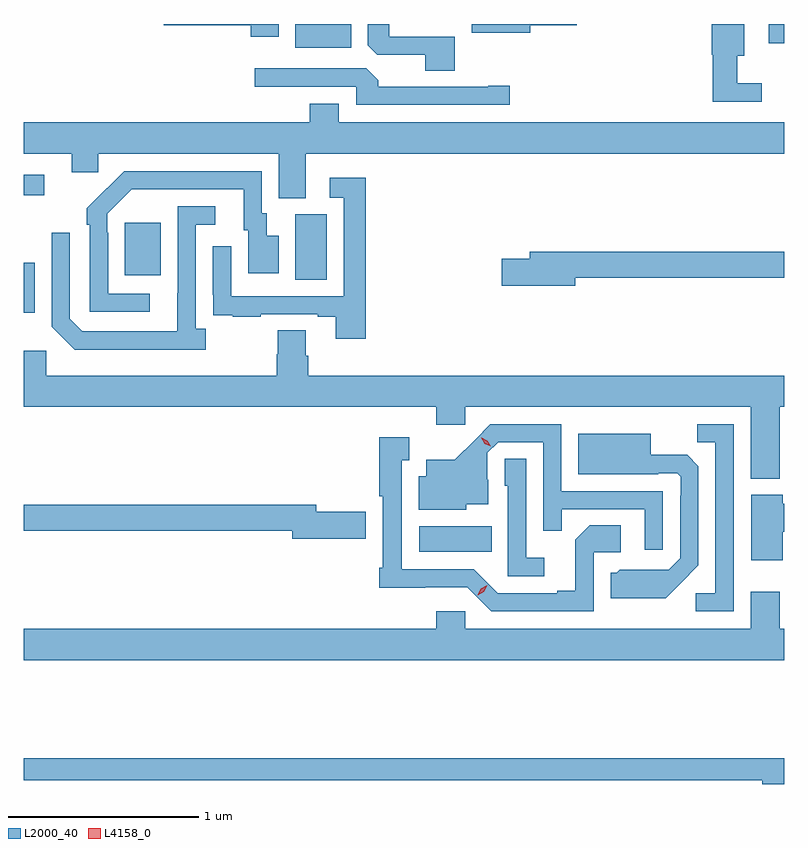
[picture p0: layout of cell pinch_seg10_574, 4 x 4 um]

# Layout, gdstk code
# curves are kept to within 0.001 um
import gdstk
lib = gdstk.Library(unit=1e-6, precision=1e-09)
def R(c, l, rs):  # rectangles x0, y0, x1, y1
    for r in rs: c.add(gdstk.rectangle(r[:2], r[2:], *l))
def P(c, l, *ps):  # polygons
    for p in ps: c.add(gdstk.Polygon(p, *l))
L2000_40 = (2000, 40)
L4158_0 = (4158, 0)

pinch_seg10_574 = lib.new_cell('pinch_seg10_574')
R(pinch_seg10_574, L2000_40, [(374.028,1251.602,374.408,1251.736), (371.947,1252.858,372.004,1253.122), (373.376,1253.032,373.54,1253.376), (372.479,1253.057,372.667,1253.332), (371.947,1253.478,372.055,1253.586), (373.376,1254.254,373.669,1254.378), (375.867,1254.276,375.947,1254.378)])
P(pinch_seg10_574, L2000_40, [(374.213,1254.312),(373.869,1254.312),(373.869,1254.378),(373.757,1254.378),(373.757,1254.265),(373.806,1254.216),(374.06,1254.216),(374.06,1254.133),(374.213,1254.133)],
  [(375.829,1254.067),(375.7,1254.067),(375.7,1254.212),(375.736,1254.212),(375.736,1254.378),(375.566,1254.378),(375.566,1254.216),(375.571,1254.216),(375.571,1253.97),(375.829,1253.97)],
  [(373.288,1254.378),(372.684,1254.378),(372.684,1254.371),(373.142,1254.371),(373.142,1254.312),(373.288,1254.312)],
  [(374.611,1254.371),(374.857,1254.371),(374.857,1254.378),(374.304,1254.378),(374.304,1254.332),(374.611,1254.332)],
  [(374.503,1254.053),(374.39,1254.053),(374.39,1254.048),(373.811,1254.048),(373.811,1254.082),(373.749,1254.144),(373.161,1254.144),(373.161,1254.048),(373.695,1254.048),(373.695,1253.952),(374.503,1253.952)],
  [(373.429,1253.696),(375.947,1253.696),(375.947,1253.86),(373.603,1253.86),(373.603,1253.959),(373.451,1253.959),(373.451,1253.86),(371.947,1253.86),(371.947,1253.696),(372.2,1253.696),(372.2,1253.598),(372.339,1253.598),(372.339,1253.696),(373.289,1253.696),(373.289,1253.461),(373.429,1253.461)],
  [(372.61,1252.959),(372.39,1252.959),(372.39,1253.279),(372.387,1253.279),(372.387,1253.379),(372.516,1253.508),(373.103,1253.508),(373.103,1253.292),(373.127,1253.292),(373.127,1253.067),(373.288,1253.067),(373.288,1253.263),(373.225,1253.263),(373.225,1253.382),(373.2,1253.382),(373.2,1253.604),(372.476,1253.604),(372.279,1253.409),(372.279,1253.321),(372.294,1253.321),(372.294,1252.863),(372.61,1252.863)],
  [(373.745,1253.569),(373.557,1253.569),(373.557,1253.463),(373.629,1253.463),(373.629,1252.947),(373.038,1252.947),(373.038,1253.209),(372.942,1253.209),(372.942,1252.954),(372.943,1252.954),(372.943,1252.845),(373.045,1252.845),(373.045,1252.839),(373.193,1252.839),(373.193,1252.851),(373.493,1252.851),(373.493,1252.839),(373.589,1252.839),(373.589,1252.722),(373.745,1252.722)],
  [(372.904,1252.774),(372.852,1252.774),(372.852,1253.322),(372.955,1253.322),(372.955,1253.418),(372.756,1253.418),(372.755,1252.761),(372.255,1252.761),(372.189,1252.827),(372.189,1253.281),(372.093,1253.281),(372.093,1252.785),(372.214,1252.664),(372.904,1252.664)],
  [(374.848,1253.044),(375.947,1253.044),(375.947,1253.18),(374.609,1253.18),(374.609,1253.144),(374.46,1253.144),(374.46,1253.002),(374.848,1253.002)],
  [(375.923,1252.364),(375.947,1252.364),(375.947,1252.528),(373.442,1252.528),(373.442,1252.634),(373.429,1252.634),(373.429,1252.766),(373.282,1252.766),(373.282,1252.641),(373.277,1252.641),(373.277,1252.528),(372.066,1252.528),(372.066,1252.66),(371.947,1252.66),(371.947,1252.364),(374.117,1252.364),(374.117,1252.269),(374.268,1252.269),(374.268,1252.364),(375.77,1252.364),(375.77,1251.986),(375.923,1251.986)],
  [(375.681,1252.272),(375.49,1252.272),(375.49,1252.177),(375.585,1252.177),(375.585,1251.384),(375.483,1251.384),(375.483,1251.288),(375.681,1251.288)],
  [(375.309,1251.921),(374.775,1251.921),(374.775,1252.272),(374.402,1252.272),(374.215,1252.087),(374.063,1252.087),(374.063,1252),(374.024,1252),(374.024,1251.824),(374.274,1251.824),(374.274,1251.851),(374.389,1251.851),(374.389,1251.98),(374.385,1251.98),(374.385,1252.122),(374.442,1252.179),(374.679,1252.179),(374.679,1251.712),(374.777,1251.712),(374.777,1251.825),(375.213,1251.825),(375.213,1251.612),(375.309,1251.612)],
  [(375.403,1251.437),(375.495,1251.53),(375.495,1252.052),(375.436,1252.111),(375.244,1252.111),(375.244,1252.222),(374.864,1252.222),(374.864,1252.01),(375.284,1252.01),(375.284,1252.014),(375.384,1252.014),(375.402,1251.996),(375.402,1251.896),(375.399,1251.896),(375.399,1251.567),(375.339,1251.507),(375.082,1251.508),(375.066,1251.492),(375.035,1251.492),(375.035,1251.356),(375.323,1251.356)],
  [(374.946,1251.6),(375.088,1251.6),(375.088,1251.74),(374.923,1251.74),(374.847,1251.664),(374.847,1251.397),(374.753,1251.397),(374.753,1251.384),(374.439,1251.384),(374.313,1251.51),(373.936,1251.51),(373.936,1252.083),(373.975,1252.083),(373.975,1252.204),(373.818,1252.204),(373.818,1251.895),(373.835,1251.895),(373.835,1251.517),(373.818,1251.517),(373.818,1251.413),(374.28,1251.414),(374.406,1251.288),(374.946,1251.288)],
  [(374.686,1251.571),(374.589,1251.571),(374.589,1252.091),(374.478,1252.091),(374.478,1251.948),(374.493,1251.948),(374.493,1251.474),(374.686,1251.474)],
  [(375.94,1251.707),(375.947,1251.707),(375.947,1251.854),(375.94,1251.854),(375.94,1251.901),(375.773,1251.901),(375.773,1251.558),(375.94,1251.558)],
  [(373.747,1251.812),(373.486,1251.812),(373.486,1251.848),(371.947,1251.848),(371.947,1251.712),(373.358,1251.712),(373.358,1251.67),(373.747,1251.67)],
  [(375.947,1251.196),(375.923,1251.196),(375.923,1251.391),(375.77,1251.391),(375.77,1251.196),(374.268,1251.196),(374.268,1251.289),(374.117,1251.289),(374.117,1251.196),(371.947,1251.196),(371.947,1251.032),(375.947,1251.032)],
  [(375.947,1250.516),(371.947,1250.516),(371.947,1250.4),(375.58,1250.4),(375.58,1250.399),(375.832,1250.399),(375.832,1250.38),(375.947,1250.38)])
P(pinch_seg10_574, L4158_0, [(374.403,1252.156),(374.372,1252.171),(374.354,1252.201),(374.354,1252.201),(374.355,1252.201),(374.386,1252.186),(374.403,1252.156),(374.403,1252.156)],
  [(374.336,1251.373),(374.336,1251.373),(374.352,1251.406),(374.384,1251.426),(374.384,1251.426),(374.384,1251.425),(374.367,1251.392),(374.336,1251.373)])

lib.write_gds('pinch_seg10_574.gds')
